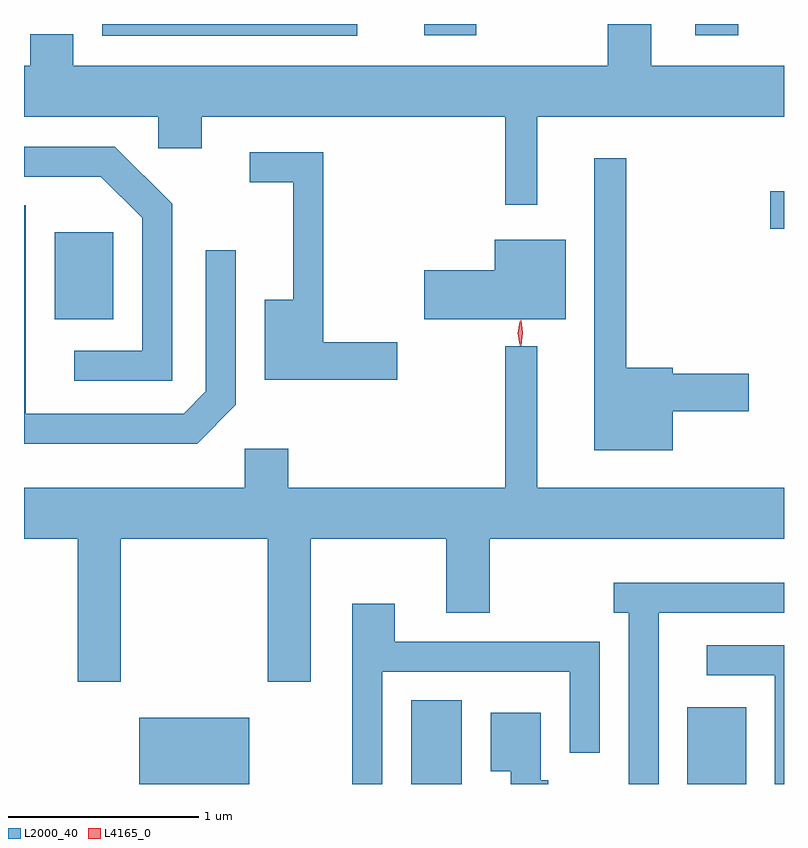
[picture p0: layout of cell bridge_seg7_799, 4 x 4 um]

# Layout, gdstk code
import gdstk
lib = gdstk.Library(unit=1e-6, precision=1e-09)
def R(c, l, rs):  # rectangles x0, y0, x1, y1
    for r in rs: c.add(gdstk.rectangle(r[:2], r[2:], *l))
def P(c, l, *ps):  # polygons
    for p in ps: c.add(gdstk.Polygon(p, *l))
L2000_40 = (2000, 40)
L4165_0 = (4165, 0)

bridge_seg7_799 = lib.new_cell('bridge_seg7_799')
R(bridge_seg7_799, L2000_40, [(242.656,1735.224,243.234,1735.574), (244.086,1735.224,244.354,1735.664), (245.541,1735.224,245.849,1735.629), (242.211,1737.671,242.519,1738.129), (245.976,1738.146,246.049,1738.344), (242.461,1739.161,243.803,1739.224), (244.156,1739.166,244.429,1739.224), (245.581,1739.166,245.809,1739.224)])
P(bridge_seg7_799, L2000_40, [(245.121,1739.224),(245.121,1739.004),(242.309,1739.004),(242.309,1739.169),(242.081,1739.169),(242.081,1739.004),(242.049,1739.004),(242.049,1738.736),(242.756,1738.736),(242.756,1738.571),(242.984,1738.571),(242.984,1738.736),(244.581,1738.736),(244.581,1738.273),(244.749,1738.273),(244.749,1738.736),(246.049,1738.736),(246.049,1739.004),(245.349,1739.004),(245.349,1739.224)],
  [(242.829,1738.277),(242.527,1738.579),(242.049,1738.579),(242.049,1738.421),(242.454,1738.421),(242.671,1738.204),(242.671,1737.504),(242.313,1737.504),(242.313,1737.346),(242.829,1737.346)],
  [(244.014,1737.549),(243.624,1737.549),(243.624,1738.549),(243.238,1738.549),(243.238,1738.391),(243.466,1738.391),(243.466,1737.774),(243.316,1737.774),(243.316,1737.351),(244.014,1737.351)],
  [(245.464,1737.186),(245.864,1737.186),(245.864,1737.384),(245.464,1737.384),(245.464,1737.414),(245.219,1737.414),(245.219,1738.518),(245.051,1738.518),(245.051,1736.981),(245.464,1736.981)],
  [(243.164,1737.219),(243.164,1738.033),(243.006,1738.033),(243.006,1737.292),(242.889,1737.174),(242.059,1737.174),(242.059,1738.269),(242.049,1738.269),(242.049,1737.016),(242.962,1737.016)],
  [(244.899,1738.089),(244.526,1738.089),(244.526,1737.929),(244.156,1737.929),(244.156,1737.671),(244.899,1737.671)],
  [(242.559,1736.516),(243.331,1736.516),(243.331,1735.761),(243.559,1735.761),(243.559,1736.516),(244.271,1736.516),(244.271,1736.126),(244.499,1736.126),(244.499,1736.516),(246.049,1736.516),(246.049,1736.784),(244.749,1736.784),(244.749,1737.528),(244.581,1737.528),(244.581,1736.784),(243.439,1736.784),(243.439,1736.989),(243.211,1736.989),(243.211,1736.784),(242.049,1736.784),(242.049,1736.516),(242.331,1736.516),(242.331,1735.761),(242.559,1735.761)],
  [(245.389,1736.126),(246.049,1736.126),(246.049,1736.284),(245.153,1736.284),(245.153,1736.126),(245.231,1736.126),(245.231,1735.224),(245.389,1735.224)],
  [(243.934,1735.816),(244.921,1735.816),(244.921,1735.388),(245.079,1735.388),(245.079,1735.974),(243.999,1735.974),(243.999,1736.174),(243.776,1736.174),(243.776,1735.224),(243.934,1735.224)],
  [(246.049,1735.954),(245.643,1735.954),(245.643,1735.796),(246.001,1735.796),(246.001,1735.224),(246.049,1735.224)],
  [(244.809,1735.244),(244.769,1735.244),(244.769,1735.599),(244.506,1735.599),(244.506,1735.291),(244.611,1735.291),(244.611,1735.224),(244.809,1735.224)])
P(bridge_seg7_799, L4165_0, [(244.658,1737.533),(244.658,1737.533),(244.648,1737.596),(244.657,1737.659),(244.658,1737.66),(244.658,1737.659),(244.668,1737.596),(244.659,1737.533)],
  [(244.664,1737.53),(244.655,1737.598),(244.664,1737.665),(244.664,1737.666),(244.665,1737.665),(244.674,1737.598),(244.665,1737.53),(244.665,1737.53)])

lib.write_gds('bridge_seg7_799.gds')
